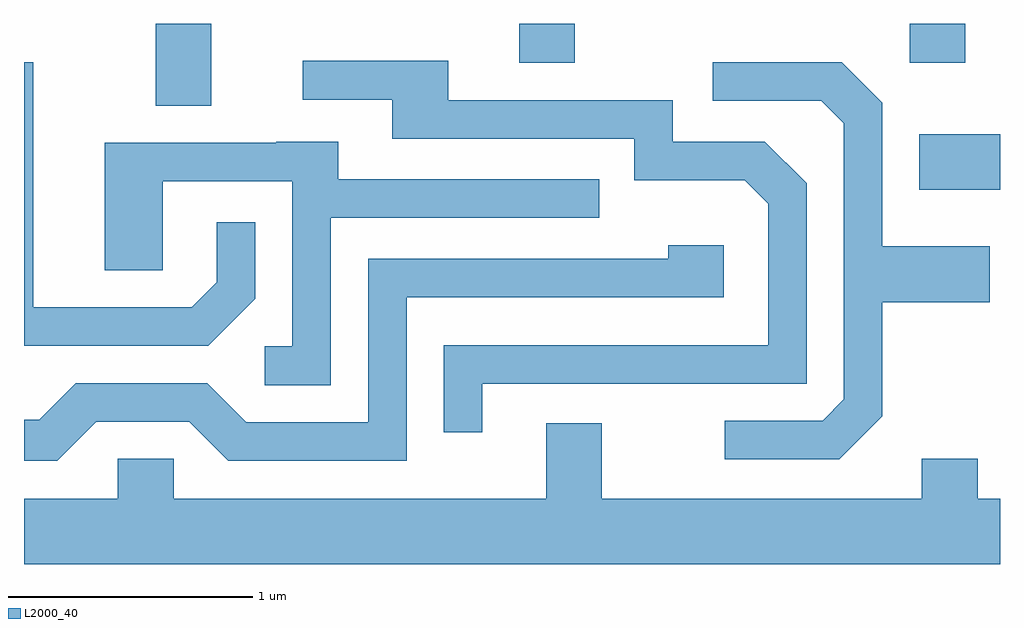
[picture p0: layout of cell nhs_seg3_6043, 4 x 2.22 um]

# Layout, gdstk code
import gdstk
lib = gdstk.Library(unit=1e-6, precision=1e-09)
def R(c, l, rs):  # rectangles x0, y0, x1, y1
    for r in rs: c.add(gdstk.rectangle(r[:2], r[2:], *l))
def P(c, l, *ps):  # polygons
    for p in ps: c.add(gdstk.Polygon(p, *l))
L2000_40 = (2000, 40)

nhs_seg3_6043 = lib.new_cell('nhs_seg3_6043')
R(nhs_seg3_6043, L2000_40, [(365.281,1245.211,365.611,1245.439), (362.151,1245.556,362.379,1245.892), (363.641,1245.731,363.869,1245.892), (365.241,1245.731,365.469,1245.892)])
P(nhs_seg3_6043, L2000_40, [(363.489,1244.416),(364.819,1244.416),(364.819,1245.237),(364.647,1245.409),(364.269,1245.409),(364.269,1245.579),(363.349,1245.579),(363.349,1245.739),(362.753,1245.739),(362.753,1245.581),(363.121,1245.581),(363.121,1245.421),(364.111,1245.421),(364.111,1245.251),(364.564,1245.251),(364.661,1245.154),(364.661,1244.574),(363.331,1244.574),(363.331,1244.218),(363.489,1244.218)],
  [(365.129,1244.284),(365.129,1244.751),(365.569,1244.751),(365.569,1244.979),(365.129,1244.979),(365.129,1245.567),(364.962,1245.734),(364.433,1245.734),(364.433,1245.576),(364.879,1245.576),(364.971,1245.484),(364.971,1244.352),(364.884,1244.264),(364.483,1244.264),(364.483,1244.106),(364.952,1244.106)],
  [(362.559,1244.764),(362.559,1245.078),(362.401,1245.078),(362.401,1244.832),(362.299,1244.729),(361.649,1244.729),(361.649,1245.734),(361.611,1245.734),(361.611,1244.571),(362.367,1244.571)],
  [(362.869,1245.096),(363.968,1245.096),(363.968,1245.254),(362.899,1245.254),(362.899,1245.409),(362.645,1245.409),(362.645,1245.404),(361.941,1245.404),(361.941,1244.881),(362.179,1244.881),(362.179,1245.246),(362.711,1245.246),(362.711,1244.569),(362.598,1244.569),(362.598,1244.411),(362.869,1244.411)],
  [(361.907,1244.261),(362.289,1244.261),(362.449,1244.101),(363.179,1244.101),(363.179,1244.771),(364.479,1244.771),(364.479,1244.984),(364.251,1244.984),(364.251,1244.929),(363.021,1244.929),(363.021,1244.259),(362.522,1244.259),(362.362,1244.419),(361.824,1244.419),(361.674,1244.269),(361.611,1244.269),(361.611,1244.101),(361.747,1244.101)],
  [(365.611,1243.944),(365.519,1243.944),(365.519,1244.109),(365.291,1244.109),(365.291,1243.944),(363.979,1243.944),(363.979,1244.254),(363.751,1244.254),(363.751,1243.944),(362.224,1243.944),(362.224,1244.109),(361.996,1244.109),(361.996,1243.944),(361.611,1243.944),(361.611,1243.676),(365.611,1243.676)])

lib.write_gds('nhs_seg3_6043.gds')
